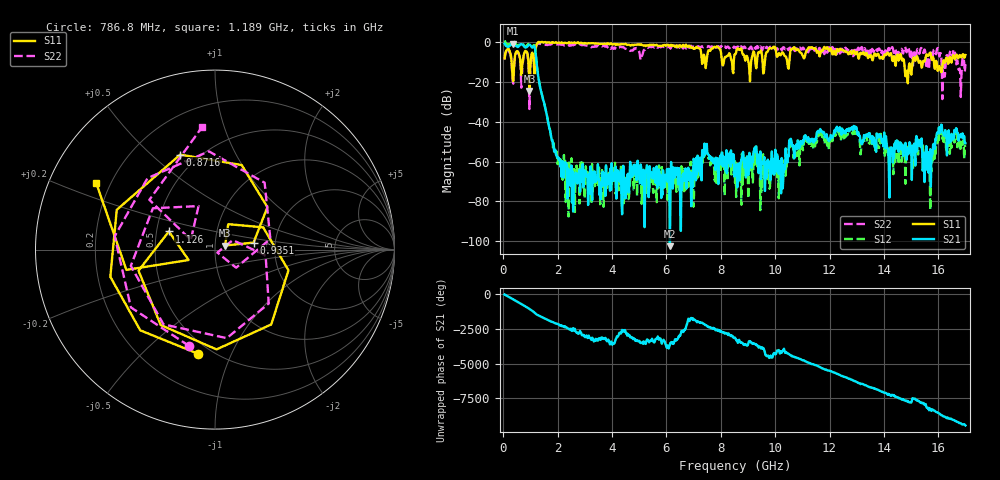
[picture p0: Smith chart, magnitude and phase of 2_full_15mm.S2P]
! C:\Users\LSO\Desktop\2_full_15mm.S2P
! Touchstone 1.1 file saved by VNA.EXE V1.65 (www.ke5fx.com/gpib/readme.htm)
! 2. 04. 2024 12:51:21
!  Source: HP8510C.07.14: Aug 26  1998
!  Min freq: 4.500000E+007 Hz
!  Max freq: 1.700000E+010 Hz
!  Points: 801
!  Params: S11 S21 S12 S22
# GHZ S DB R 50
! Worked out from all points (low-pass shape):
!   801 points, 45 MHz to 17 GHz, reference 50 ohm
!   highest |S21| = -0.57 dB at 341.7 MHz (marker M1); lowest = -102.6 dB at 6.128 GHz (marker M2)
!   |S21| within 3 dB of the highest: start of sweep to 1.17 GHz
!   lowest |S11| = -24.4 dB at 956.3 MHz (marker M3), VSWR 1.13, Z = 55.9 + j2.56 ohm
!   |S11| at or under -10 dB: 303.6 MHz to 404.4 MHz (100.8 MHz wide, 28.5 % of centre); 14.75 GHz to 15.05 GHz (302.9 MHz wide, 2.03 % of centre); 15.94 GHz to 16.17 GHz (229.1 MHz wide, 1.43 % of centre)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
!   |S22| runs from -33.5 to -0.6 dB; largest |S21 - S12| = 1.8
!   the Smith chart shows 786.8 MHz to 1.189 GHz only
!   S11 on the Smith chart (normalised r, x): 786.8 MHz: 0.43, -0.76; 871.6 MHz: 0.40, +0.62; 935.1 MHz: 1.54, +0.13; 1.126 GHz: 0.58, +0.13; 1.189 GHz: 0.15, +0.26
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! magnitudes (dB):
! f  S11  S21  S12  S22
! 45 MHz  -8.0  -0.6  1.0  -8.6
! 341.7 MHz  -18.1  -0.6  0.5  -19.1
! 786.8 MHz  -4.6  -2.4  -1.9  -5.1
! 871.6 MHz  -5.0  -2.2  -1.5  -5.2
! 935.1 MHz  -13.2  -1.2  -0.6  -16.2
! 956.3 MHz  -24.4  -1.1  -0.5  -33.5
! 1.126 GHz  -11.2  -1.9  -1.3  -11.7
! 1.189 GHz  -2.4  -5.9  -5.5  -3.2
! 1.931 GHz  0.1  -56.4  -55.4  -0.8
! 2.885 GHz  -0.3  -68.2  -64.2  -1.4
! 5.704 GHz  -1.7  -67.6  -73.4  -2.2
! 6.128 GHz  -1.8  -102.6  -65.9  -2.7
! 6.997 GHz  -3.1  -58.6  -82.8  -2.1
! 7.399 GHz  -6.8  -50.9  -57.3  -2.1
! 8.523 GHz  -5.8  -63.2  -70.6  -2.4
! 10.28 GHz  -5.0  -73.5  -62.3  -2.8
! 10.6 GHz  -3.3  -49.6  -52.9  -4.3
! 11.36 GHz  -2.5  -48.5  -50.7  -3.3
! 12.91 GHz  -4.3  -43.3  -46.8  -4.6
! 14.18 GHz  -6.2  -62.0  -58.4  -2.8
! 15.66 GHz  -6.0  -56.4  -56.0  -12.5
! 17 GHz  -6.3  -50.8  -52.5  -10.9
